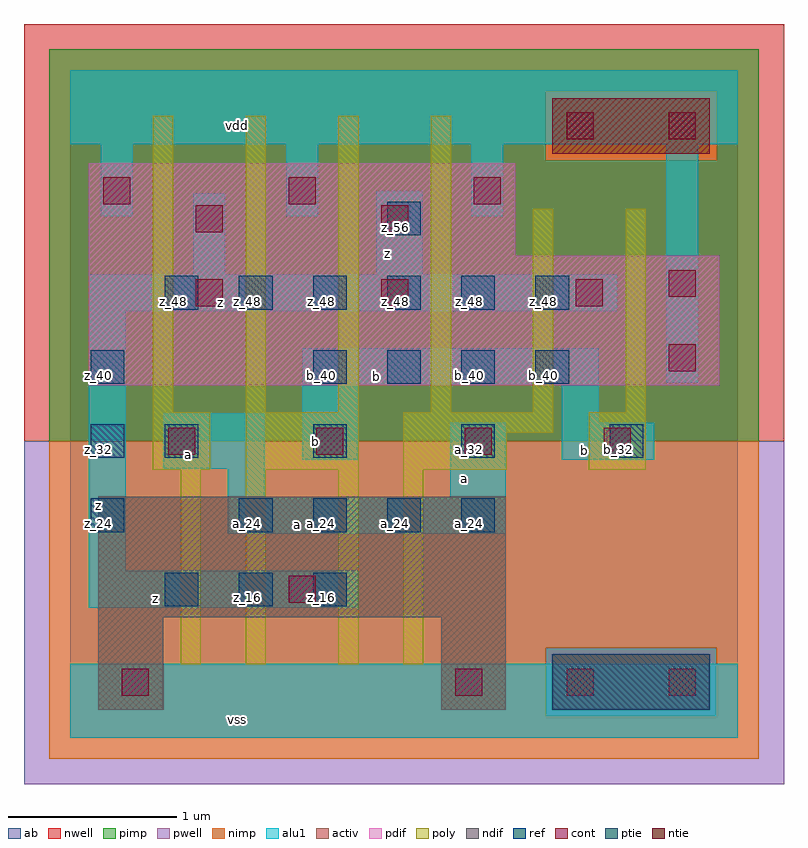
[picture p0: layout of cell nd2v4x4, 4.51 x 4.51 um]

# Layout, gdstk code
import gdstk
lib = gdstk.Library(unit=1e-6, precision=2.5e-09)
def R(c, l, rs):  # rectangles x0, y0, x1, y1
    for r in rs: c.add(gdstk.rectangle(r[:2], r[2:], *l))
def A(c, l, x, y, w, h, nx, ny, dx, dy):  # array of equal rectangles
    R(c, l, [(x+i*dx, y+j*dy, x+i*dx+w, y+j*dy+h) for i in range(nx) for j in range(ny)])
ndif = (3, 0)
pdif = (4, 0)
ntie = (5, 0)
ptie = (6, 0)
ref = (24, 0)
cont = (25, 0)
pwell = (41, 0)
nwell = (42, 0)
activ = (43, 0)
pimp = (44, 0)
nimp = (45, 0)
poly = (46, 0)
alu1 = (49, 0)
ab = (63, 0)

nd2v4x4 = lib.new_cell('nd2v4x4')
R(nd2v4x4, ndif, [(0.165,0.165,0.55,0.715), (2.2,0.165,2.585,0.715), (0.165,0.715,2.585,1.43)])
R(nd2v4x4, pdif, [(0.11,2.09,3.85,2.86), (0.11,2.86,2.64,3.41)])
R(nd2v4x4, ntie, [(2.86,3.465,3.795,3.795)])
R(nd2v4x4, ptie, [(2.86,0.165,3.795,0.495)])
A(nd2v4x4, ref, 0.56, 0.78, 0.2, 0.2, 3, 1, 0.44, 0)
A(nd2v4x4, ref, 0.12, 1.22, 0.2, 0.2, 1, 3, 0, 0.44)
A(nd2v4x4, ref, 1, 1.22, 0.2, 0.2, 4, 1, 0.44, 0)
A(nd2v4x4, ref, 0.56, 1.66, 0.2, 0.2, 4, 1, 0.88, 0)
A(nd2v4x4, ref, 1.44, 2.1, 0.2, 0.2, 4, 1, 0.44, 0)
A(nd2v4x4, ref, 0.56, 2.54, 0.2, 0.2, 6, 1, 0.44, 0)
R(nd2v4x4, ref, [(1.88,2.98,2.08,3.18)])
A(nd2v4x4, cont, 0.58, 1.68, 0.16, 0.16, 3, 1, 0.88, 0)
A(nd2v4x4, cont, 0.195, 3.165, 0.16, 0.16, 3, 1, 1.1, 0)
R(nd2v4x4, cont, [(0.305,0.25,0.465,0.41), (2.285,0.25,2.445,0.41), (2.945,0.25,3.105,0.41), (3.55,0.25,3.71,0.41), (1.295,0.8,1.455,0.96), (3.165,1.68,3.325,1.84), (3.55,2.175,3.71,2.335), (0.745,2.56,0.905,2.72), (1.845,2.56,2.005,2.72), (3,2.56,3.16,2.72), (3.55,2.615,3.71,2.775), (0.745,3,0.905,3.16), (1.845,3,2.005,3.16), (2.945,3.55,3.105,3.71), (3.55,3.55,3.71,3.71)])
R(nd2v4x4, pwell, [(-0.275,-0.275,4.235,1.76)])
R(nd2v4x4, nwell, [(-0.275,1.76,4.235,4.235)])
R(nd2v4x4, activ, [(0.165,0.165,0.55,0.715), (2.2,0.165,2.585,0.715), (2.86,0.165,3.795,0.495), (0.165,0.715,2.585,1.43), (0.11,2.09,3.85,2.86), (0.11,2.86,2.64,3.41), (2.86,3.465,3.795,3.795)])
R(nd2v4x4, pimp, [(2.82,0.125,3.835,0.535), (-0.125,1.76,4.085,3.425), (-0.125,3.425,2.82,3.835), (3.835,3.425,4.085,3.835), (-0.125,3.835,4.085,4.085)])
R(nd2v4x4, nimp, [(-0.125,-0.125,4.085,0.125), (-0.125,0.125,2.82,0.535), (3.835,0.125,4.085,0.535), (-0.125,0.535,4.085,1.76), (2.82,3.425,3.835,3.835)])
A(nd2v4x4, poly, 0.49, 1.93, 0.12, 1.76, 4, 1, 0.55, 0)
R(nd2v4x4, poly, [(0.655,0.435,0.775,1.59), (1.04,0.435,1.16,1.59), (1.59,0.435,1.71,1.59), (1.975,0.435,2.095,1.59), (0.49,1.59,0.83,1.93), (1.04,1.59,1.71,1.93), (1.975,1.59,2.59,1.81), (3.075,1.59,3.415,1.93), (1.975,1.81,2.865,1.93), (2.745,1.93,2.865,3.14), (3.295,1.93,3.415,3.14)])
A(nd2v4x4, alu1, 0.18, 3.095, 0.19, 0.425, 3, 1, 1.1, 0)
R(nd2v4x4, alu1, [(0,0,3.96,0.44), (0.11,0.77,1.705,0.99), (0.11,0.99,0.33,2.53), (0.935,1.21,2.585,1.43), (0.935,1.43,1.155,1.595), (2.255,1.43,2.585,1.87), (0.55,1.595,1.155,1.925), (1.375,1.65,1.705,2.09), (2.915,1.65,3.465,1.87), (2.915,1.87,3.135,2.09), (1.375,2.09,3.135,2.31), (3.535,2.105,3.725,3.52), (0.11,2.53,3.245,2.75), (0.73,2.75,0.92,3.23), (1.815,2.75,2.09,3.245), (0,3.52,3.96,3.96)])
R(nd2v4x4, ab, [(0,0,3.96,3.96)])
nd2v4x4.add(gdstk.Label('vss', (0.99,0.11), layer=49, texttype=0))
nd2v4x4.add(gdstk.Label('z', (0.5075,0.825), layer=49, texttype=0))
nd2v4x4.add(gdstk.Label('a', (1.3475,1.265), layer=49, texttype=0))
nd2v4x4.add(gdstk.Label('b', (3.0525,1.705), layer=49, texttype=0))
nd2v4x4.add(gdstk.Label('a', (2.3375,1.54), layer=49, texttype=0))
nd2v4x4.add(gdstk.Label('b', (1.4575,1.76), layer=49, texttype=0))
nd2v4x4.add(gdstk.Label('a', (0.7,1.6775), layer=49, texttype=0))
nd2v4x4.add(gdstk.Label('b', (1.815,2.145), layer=49, texttype=0))
nd2v4x4.add(gdstk.Label('z', (0.165,1.375), layer=49, texttype=0))
nd2v4x4.add(gdstk.Label('z', (0.8925,2.585), layer=49, texttype=0))
nd2v4x4.add(gdstk.Label('z', (1.8825,2.8725), layer=49, texttype=0))
nd2v4x4.add(gdstk.Label('vdd', (0.99,3.63), layer=49, texttype=0))
nd2v4x4.add(gdstk.Label('z_16', (0.61,0.83), layer=24, texttype=0))
nd2v4x4.add(gdstk.Label('a_32', (0.61,1.71), layer=24, texttype=0))
nd2v4x4.add(gdstk.Label('z_48', (0.61,2.59), layer=24, texttype=0))
nd2v4x4.add(gdstk.Label('z_16', (1.05,0.83), layer=24, texttype=0))
nd2v4x4.add(gdstk.Label('a_24', (1.05,1.27), layer=24, texttype=0))
nd2v4x4.add(gdstk.Label('z_48', (1.05,2.59), layer=24, texttype=0))
nd2v4x4.add(gdstk.Label('z_16', (1.49,0.83), layer=24, texttype=0))
nd2v4x4.add(gdstk.Label('a_24', (1.49,1.27), layer=24, texttype=0))
nd2v4x4.add(gdstk.Label('b_32', (1.49,1.71), layer=24, texttype=0))
nd2v4x4.add(gdstk.Label('b_40', (1.49,2.15), layer=24, texttype=0))
nd2v4x4.add(gdstk.Label('z_48', (1.49,2.59), layer=24, texttype=0))
nd2v4x4.add(gdstk.Label('a_24', (1.93,1.27), layer=24, texttype=0))
nd2v4x4.add(gdstk.Label('b_40', (1.93,2.15), layer=24, texttype=0))
nd2v4x4.add(gdstk.Label('z_48', (1.93,2.59), layer=24, texttype=0))
nd2v4x4.add(gdstk.Label('z_56', (1.93,3.03), layer=24, texttype=0))
nd2v4x4.add(gdstk.Label('z_24', (0.17,1.27), layer=24, texttype=0))
nd2v4x4.add(gdstk.Label('z_32', (0.17,1.71), layer=24, texttype=0))
nd2v4x4.add(gdstk.Label('z_40', (0.17,2.15), layer=24, texttype=0))
nd2v4x4.add(gdstk.Label('a_24', (2.37,1.27), layer=24, texttype=0))
nd2v4x4.add(gdstk.Label('a_32', (2.37,1.71), layer=24, texttype=0))
nd2v4x4.add(gdstk.Label('b_40', (2.37,2.15), layer=24, texttype=0))
nd2v4x4.add(gdstk.Label('z_48', (2.37,2.59), layer=24, texttype=0))
nd2v4x4.add(gdstk.Label('b_40', (2.81,2.15), layer=24, texttype=0))
nd2v4x4.add(gdstk.Label('z_48', (2.81,2.59), layer=24, texttype=0))
nd2v4x4.add(gdstk.Label('b_32', (3.25,1.71), layer=24, texttype=0))

lib.write_gds('nd2v4x4.gds')
